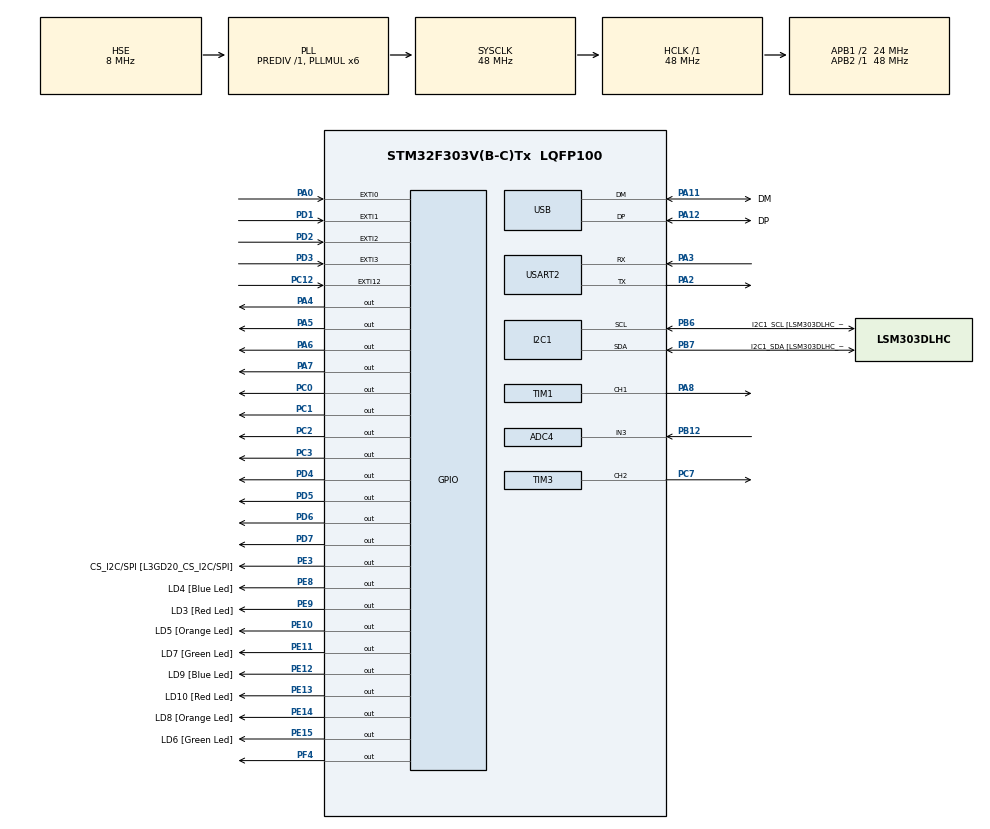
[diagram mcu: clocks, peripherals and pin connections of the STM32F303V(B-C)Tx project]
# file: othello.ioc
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ADC4.Channel-1\#ChannelRegularConversion=ADC_CHANNEL_3
ADC4.NbrOfConversionFlag=1
ADC4.Offset-1\#ChannelRegularConversion=0
ADC4.OffsetNumber-1\#ChannelRegularConversion=ADC_OFFSET_NONE
ADC4.Rank-1\#ChannelRegularConversion=1
ADC4.SamplingTime-1\#ChannelRegularConversion=ADC_SAMPLETIME_601CYCLES_5
ADC4.SamplingTimeOPAMP-1\#ChannelRegularConversion=ADC_SAMPLETIME_19CYCLES_5
I2C1.Timing=0x2000090E
I2C1.Timing-I2C=0x2000090E
Mcu.Family=STM32F3
Mcu.Name=STM32F303V(B-C)Tx
Mcu.Package=LQFP100
NVIC.ADC4_IRQn=true\:1\:0\:true\:false\:true\:true\:true
NVIC.EXTI0_IRQn=true\:1\:0\:true\:false\:true\:true\:true
NVIC.EXTI15_10_IRQn=true\:1\:0\:true\:false\:true\:true\:true
NVIC.EXTI1_IRQn=true\:1\:0\:true\:false\:true\:true\:true
NVIC.EXTI2_TSC_IRQn=true\:1\:0\:true\:false\:true\:true\:true
NVIC.EXTI3_IRQn=true\:1\:0\:true\:false\:true\:true\:true
NVIC.PriorityGroup=NVIC_PRIORITYGROUP_2
NVIC.TIM2_IRQn=true\:2\:0\:true\:false\:true\:true\:true
NVIC.TIM4_IRQn=true\:2\:0\:true\:false\:true\:true\:true
NVIC.USART2_IRQn=true\:1\:0\:true\:false\:true\:true\:true
PA0.GPIO_PuPd=GPIO_PULLDOWN
PA0.Signal=GPXTI0
PA11.GPIO_Label=DM
PA11.Mode=Device
PA11.Signal=USB_DM
PA12.GPIO_Label=DP
PA12.Mode=Device
PA12.Signal=USB_DP
PA13.GPIO_Label=SWDIO
PA13.Mode=Serial_Wire
PA13.Signal=SYS_JTMS-SWDIO
PA14.GPIO_Label=SWCLK
PA14.Mode=Serial_Wire
PA14.Signal=SYS_JTCK-SWCLK
PA2.Mode=Asynchronous
PA2.Signal=USART2_TX
PA3.Mode=Asynchronous
PA3.Signal=USART2_RX
PA4.Signal=GPIO_Output
PA5.Signal=GPIO_Output
PA6.Signal=GPIO_Output
PA7.Signal=GPIO_Output
PA8.Signal=S_TIM1_CH1
PB12.Mode=IN3-Single-Ended
PB12.Signal=ADC4_IN3
PB3.GPIO_Label=SWO
PB3.Signal=SYS_JTDO-TRACESWO
PB6.GPIO_Label=I2C1_SCL [LSM303DLHC_SCL]
PB6.GPIO_Pu=GPIO_PULLUP
PB6.Mode=I2C
PB6.Signal=I2C1_SCL
PB7.GPIO_Label=I2C1_SDA [LSM303DLHC_SDA]
PB7.GPIO_Pu=GPIO_PULLUP
PB7.Mode=I2C
PB7.Signal=I2C1_SDA
PC0.Signal=GPIO_Output
PC1.Signal=GPIO_Output
PC12.GPIO_PuPd=GPIO_PULLDOWN
PC12.Signal=GPXTI12
PC14-OSC32_IN.GPIO_Label=OSC32_IN
PC14-OSC32_IN.Signal=RCC_OSC32_IN
PC15-OSC32_OUT.GPIO_Label=OSC32_OUT
PC15-OSC32_OUT.Signal=RCC_OSC32_OUT
PC2.Signal=GPIO_Output
PC3.Signal=GPIO_Output
PC7.Signal=S_TIM3_CH2
PD1.GPIO_PuPd=GPIO_PULLDOWN
PD1.Signal=GPXTI1
PD2.GPIO_PuPd=GPIO_PULLDOWN
PD2.Signal=GPXTI2
PD3.GPIO_PuPd=GPIO_PULLDOWN
PD3.Signal=GPXTI3
PD4.Signal=GPIO_Output
PD5.Signal=GPIO_Output
PD6.Signal=GPIO_Output
PD7.Signal=GPIO_Output
PE10.GPIO_Label=LD5 [Orange Led]
PE10.Signal=GPIO_Output
PE11.GPIO_Label=LD7 [Green Led]
PE11.Signal=GPIO_Output
PE12.GPIO_Label=LD9 [Blue Led]
PE12.Signal=GPIO_Output
PE13.GPIO_Label=LD10 [Red Led]
PE13.Signal=GPIO_Output
PE14.GPIO_Label=LD8 [Orange Led]
PE14.Signal=GPIO_Output
PE15.GPIO_Label=LD6 [Green Led]
PE15.Signal=GPIO_Output
PE3.GPIO_Label=CS_I2C/SPI [L3GD20_CS_I2C/SPI]
PE3.Signal=GPIO_Output
PE8.GPIO_Label=LD4 [Blue Led]
PE8.Signal=GPIO_Output
PE9.GPIO_Label=LD3 [Red Led]
PE9.Signal=GPIO_Output
PF0-OSC_IN.GPIO_Label=OSC_IN
PF0-OSC_IN.Mode=HSE-External-Clock-Source
PF0-OSC_IN.Signal=RCC_OSC_IN
PF1-OSC_OUT.GPIO_Label=OSC_OUT
PF1-OSC_OUT.Signal=RCC_OSC_OUT
PF4.Signal=GPIO_Output
ProjectManager.HeapSize=0x200
ProjectManager.StackSize=0x400
ProjectManager.TargetToolchain=STM32CubeIDE
RCC.AHBFreq_Value=48000000
RCC.APB1CLKDivider=RCC_HCLK_DIV2
RCC.APB1Freq_Value=24000000
RCC.APB1TimFreq_Value=48000000
RCC.APB2Freq_Value=48000000
RCC.APB2TimFreq_Value=48000000
RCC.CortexFreq_Value=48000000
RCC.HCLKFreq_Value=48000000
RCC.HSE_VALUE=8000000
RCC.HSI_VALUE=8000000
RCC.LSE_VALUE=32768
RCC.PLLMUL=RCC_PLL_MUL6
RCC.SYSCLKFreq_VALUE=48000000
RCC.SYSCLKSourceVirtual=RCC_SYSCLKSOURCE_PLLCLK
RCC.USBFreq_Value=48000000
SH.S_TIM1_CH1.0=TIM1_CH1,Output Compare1 CH1
SH.S_TIM3_CH2.0=TIM3_CH2,PWM Generation2 CH2
TIM1.Channel-Output\ Compare1\ CH1=TIM_CHANNEL_1
TIM2.Period=10000
TIM2.Prescaler=2399
TIM3.Channel-PWM\ Generation2\ CH2=TIM_CHANNEL_2
TIM3.Period=100
TIM3.Prescaler=72
TIM4.Prescaler=479
USART2.VirtualMode-Asynchronous=VM_ASYNC
VP_TIM2_VS_ClockSourceINT.Mode=Internal
VP_TIM3_VS_ClockSourceINT.Mode=Internal
VP_TIM4_VS_ClockSourceINT.Mode=Internal
board=STM32F3DISCOVERY

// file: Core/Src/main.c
/* USER CODE BEGIN Header */
/**
  ******************************************************************************
  * @file           : main.c
  * @brief          : Main program body
  ******************************************************************************
  * @attention
  *
  * <h2><center>&copy; Copyright (c) 2022 STMicroelectronics.
  * All rights reserved.</center></h2>
  *
  * This software component is licensed by ST under BSD 3-Clause license,
  * the "License"; You may not use this file except in compliance with the
  * License. You may obtain a copy of the License at:
  *                        opensource.org/licenses/BSD-3-Clause
  *
  ******************************************************************************
  */
/* USER CODE END Header */
#include "main.h"

/* USER CODE BEGIN Includes */
#include "LiquidCrystal.h"
/* USER CODE END Includes */

ADC_HandleTypeDef hadc4;

I2C_HandleTypeDef hi2c1;

TIM_HandleTypeDef htim1;
TIM_HandleTypeDef htim2;
TIM_HandleTypeDef htim3;
TIM_HandleTypeDef htim4;

UART_HandleTypeDef huart2;

PCD_HandleTypeDef hpcd_USB_FS;

void SystemClock_Config(void);
static void MX_GPIO_Init(void);
static void MX_I2C1_Init(void);
static void MX_USB_PCD_Init(void);
static void MX_TIM2_Init(void);
static void MX_USART2_UART_Init(void);
static void MX_TIM4_Init(void);
static void MX_TIM1_Init(void);
static void MX_TIM3_Init(void);
static void MX_ADC4_Init(void);

/* USER CODE BEGIN 0 */

typedef unsigned char byte;
unsigned char data[1] = "";

byte s6[] = {
  0x00,
  0x0E,
  0x0A,
  0x0E,
  0x00,
  0x0E,
  0x0E,
  0x0E
};

byte s8[] = {
  0x00,
  0x0E,
  0x0E,
  0x0E,
  0x00,
  0x0E,
  0x0E,
  0x0E
};

byte s7[] = {
  0x00,
  0x0E,
  0x0A,
  0x0E,
  0x00,
  0x0E,
  0x0A,
  0x0E
};

byte s5[] = {
  0x00,
  0x0E,
  0x0E,
  0x0E,
  0x00,
  0x0E,
  0x0A,
  0x0E
};

byte s4[] = {
  0x00,
  0x0E,
  0x0E,
  0x0E,
  0x00,
  0x00,
  0x00,
  0x00
};

byte s2[] = {
  0x00,
  0x0E,
  0x0A,
  0x0E,
  0x00,
  0x00,
  0x00,
  0x00
};

byte s1[] = {
  0x00,
  0x00,
  0x00,
  0x00,
  0x00,
  0x0E,
  0x0A,
  0x0E
};

byte s3[] = {
  0x00,
  0x00,
  0x00,
  0x00,
  0x00,
  0x0E,
  0x0E,
  0x0E
};

TIM_HandleTypeDef *pwm_timer = &htim3; // Point to PWM timer configured in CubeMX
uint32_t pwm_channel = TIM_CHANNEL_2;  // Specify configured PWM channel

void PWM_Change_Tone(uint16_t pwm_freq, uint16_t volume) // pwm_freq (1 - 20000), volume (0 - 1000)
{
  if (pwm_freq == 0 || pwm_freq > 20000)
  {
    __HAL_TIM_SET_COMPARE(pwm_timer, pwm_channel, 0);
  }
  else
  {
    const uint32_t internal_clock_freq = HAL_RCC_GetSysClockFreq();
    const uint16_t prescaler = 1;
    const uint32_t timer_clock = internal_clock_freq / prescaler;
    const uint32_t period_cycles = timer_clock / pwm_freq;
    const uint32_t pulse_width = volume * period_cycles / 1000 / 2;

    pwm_timer->Instance->PSC = prescaler - 1;
    pwm_timer->Instance->ARR = period_cycles - 1;
    pwm_timer->Instance->EGR = TIM_EGR_UG;
    __HAL_TIM_SET_COMPARE(pwm_timer, pwm_channel, pulse_width); // pwm_timer->Instance->CCR2 = pulse_width;
  }
}

//int parameter = 0;
//
//void buzzer(){
//		parameter += 10;
//	  __HAL_TIM_SET_COMPARE(&htim3, TIM_CHANNEL_2, parameter);
//}
//byte white[] = {
//  0x00,
//  0x0A,
//  0x15,
//  0x11,
//  0x11,
//  0x0A,
//  0x04,
//  0x00
//};
//
//
//byte black[] = {
//  0x00,
//  0x0A,
//  0x1F,
//  0x1F,
//  0x1F,
//  0x0E,
//  0x04,
//  0x00
//};

/* USER CODE END 0 */

int main(void)
{

  /* MCU Configuration--------------------------------------------------------*/

  /* Reset of all peripherals, Initializes the Flash interface and the Systick. */
  HAL_Init();

  /* Configure the system clock */
  SystemClock_Config();

  /* Initialize all configured peripherals */
  MX_GPIO_Init();
  MX_I2C1_Init();
  MX_USB_PCD_Init();
  MX_TIM2_Init();
  MX_USART2_UART_Init();
  MX_TIM4_Init();
  MX_TIM1_Init();
  MX_TIM3_Init();
  MX_ADC4_Init();
  /* USER CODE BEGIN 2 */
  HAL_GPIO_WritePin(GPIOD, GPIO_PIN_4, 1);
  HAL_GPIO_WritePin(GPIOD, GPIO_PIN_5, 1);
  HAL_GPIO_WritePin(GPIOD, GPIO_PIN_6, 1);
  HAL_GPIO_WritePin(GPIOD, GPIO_PIN_7, 1);

  LiquidCrystal(GPIOD, GPIO_PIN_8, GPIO_PIN_9, GPIO_PIN_10, GPIO_PIN_11, GPIO_PIN_12, GPIO_PIN_13, GPIO_PIN_14);
  begin(20, 4);

  createChar(5, s6);
  createChar(7, s8);
  createChar(6, s7);
  createChar(4, s5);
  createChar(3, s4);
  createChar(1, s2);
  createChar(0, s1);
  createChar(2, s3);

  setCursor(5,0);
  write(5);

  setCursor(6,0);
  write(4);

  setCursor(8, 0);
  print("Othello");

  setCursor(3,2);
  print("Shiva Radmanesh");

  HAL_ADC_Start_IT(&hadc4);
  HAL_TIM_Base_Start_IT(&htim2);
//  HAL_TIM_Base_Start_IT(&htim3);
  HAL_TIM_Base_Start_IT(&htim4);
  HAL_TIM_PWM_Start(&htim3, TIM_CHANNEL_2);
  HAL_UART_Receive_IT(&huart2, data, sizeof(data));

  /* USER CODE END 2 */

  /* Infinite loop */
  while (1)
  {

  }
}

void SystemClock_Config(void)
{
  RCC_OscInitTypeDef RCC_OscInitStruct = {0};
  RCC_ClkInitTypeDef RCC_ClkInitStruct = {0};
  RCC_PeriphCLKInitTypeDef PeriphClkInit = {0};

  /** Initializes the RCC Oscillators according to the specified parameters
  * in the RCC_OscInitTypeDef structure.
  */
  RCC_OscInitStruct.OscillatorType = RCC_OSCILLATORTYPE_HSI|RCC_OSCILLATORTYPE_HSE;
  RCC_OscInitStruct.HSEState = RCC_HSE_BYPASS;
  RCC_OscInitStruct.HSEPredivValue = RCC_HSE_PREDIV_DIV1;
  RCC_OscInitStruct.HSIState = RCC_HSI_ON;
  RCC_OscInitStruct.HSICalibrationValue = RCC_HSICALIBRATION_DEFAULT;
  RCC_OscInitStruct.PLL.PLLState = RCC_PLL_ON;
  RCC_OscInitStruct.PLL.PLLSource = RCC_PLLSOURCE_HSE;
  RCC_OscInitStruct.PLL.PLLMUL = RCC_PLL_MUL6;
  if (HAL_RCC_OscConfig(&RCC_OscInitStruct) != HAL_OK)
  {
    Error_Handler();
  }
  /** Initializes the CPU, AHB and APB buses clocks
  */
  RCC_ClkInitStruct.ClockType = RCC_CLOCKTYPE_HCLK|RCC_CLOCKTYPE_SYSCLK
                              |RCC_CLOCKTYPE_PCLK1|RCC_CLOCKTYPE_PCLK2;
  RCC_ClkInitStruct.SYSCLKSource = RCC_SYSCLKSOURCE_PLLCLK;
  RCC_ClkInitStruct.AHBCLKDivider = RCC_SYSCLK_DIV1;
  RCC_ClkInitStruct.APB1CLKDivider = RCC_HCLK_DIV2;
  RCC_ClkInitStruct.APB2CLKDivider = RCC_HCLK_DIV1;

  if (HAL_RCC_ClockConfig(&RCC_ClkInitStruct, FLASH_LATENCY_1) != HAL_OK)
  {
    Error_Handler();
  }
  PeriphClkInit.PeriphClockSelection = RCC_PERIPHCLK_USB|RCC_PERIPHCLK_USART2
                              |RCC_PERIPHCLK_I2C1|RCC_PERIPHCLK_TIM1
                              |RCC_PERIPHCLK_ADC34;
  PeriphClkInit.Usart2ClockSelection = RCC_USART2CLKSOURCE_PCLK1;
  PeriphClkInit.Adc34ClockSelection = RCC_ADC34PLLCLK_DIV1;
  PeriphClkInit.I2c1ClockSelection = RCC_I2C1CLKSOURCE_HSI;
  PeriphClkInit.USBClockSelection = RCC_USBCLKSOURCE_PLL;
  PeriphClkInit.Tim1ClockSelection = RCC_TIM1CLK_HCLK;
  if (HAL_RCCEx_PeriphCLKConfig(&PeriphClkInit) != HAL_OK)
  {
    Error_Handler();
  }
}

static void MX_ADC4_Init(void)
{

  ADC_ChannelConfTypeDef sConfig = {0};

  /** Common config
  */
  hadc4.Instance = ADC4;
  hadc4.Init.ClockPrescaler = ADC_CLOCK_ASYNC_DIV1;
  hadc4.Init.Resolution = ADC_RESOLUTION_12B;
  hadc4.Init.ScanConvMode = ADC_SCAN_DISABLE;
  hadc4.Init.ContinuousConvMode = DISABLE;
  hadc4.Init.DiscontinuousConvMode = DISABLE;
  hadc4.Init.ExternalTrigConvEdge = ADC_EXTERNALTRIGCONVEDGE_NONE;
  hadc4.Init.ExternalTrigConv = ADC_SOFTWARE_START;
  hadc4.Init.DataAlign = ADC_DATAALIGN_RIGHT;
  hadc4.Init.NbrOfConversion = 1;
  hadc4.Init.DMAContinuousRequests = DISABLE;
  hadc4.Init.EOCSelection = ADC_EOC_SINGLE_CONV;
  hadc4.Init.LowPowerAutoWait = DISABLE;
  hadc4.Init.Overrun = ADC_OVR_DATA_OVERWRITTEN;
  if (HAL_ADC_Init(&hadc4) != HAL_OK)
  {
    Error_Handler();
  }
  /** Configure Regular Channel
  */
  sConfig.Channel = ADC_CHANNEL_3;
  sConfig.Rank = ADC_REGULAR_RANK_1;
  sConfig.SingleDiff = ADC_SINGLE_ENDED;
  sConfig.SamplingTime = ADC_SAMPLETIME_601CYCLES_5;
  sConfig.OffsetNumber = ADC_OFFSET_NONE;
  sConfig.Offset = 0;
  if (HAL_ADC_ConfigChannel(&hadc4, &sConfig) != HAL_OK)
  {
    Error_Handler();
  }

}

static void MX_I2C1_Init(void)
{

  hi2c1.Instance = I2C1;
  hi2c1.Init.Timing = 0x2000090E;
  hi2c1.Init.OwnAddress1 = 0;
  hi2c1.Init.AddressingMode = I2C_ADDRESSINGMODE_7BIT;
  hi2c1.Init.DualAddressMode = I2C_DUALADDRESS_DISABLE;
  hi2c1.Init.OwnAddress2 = 0;
  hi2c1.Init.OwnAddress2Masks = I2C_OA2_NOMASK;
  hi2c1.Init.GeneralCallMode = I2C_GENERALCALL_DISABLE;
  hi2c1.Init.NoStretchMode = I2C_NOSTRETCH_DISABLE;
  if (HAL_I2C_Init(&hi2c1) != HAL_OK)
  {
    Error_Handler();
  }
  /** Configure Analogue filter
  */
  if (HAL_I2CEx_ConfigAnalogFilter(&hi2c1, I2C_ANALOGFILTER_ENABLE) != HAL_OK)
  {
    Error_Handler();
  }
  /** Configure Digital filter
  */
  if (HAL_I2CEx_ConfigDigitalFilter(&hi2c1, 0) != HAL_OK)
  {
    Error_Handler();
  }

}

static void MX_TIM1_Init(void)
{

  TIM_MasterConfigTypeDef sMasterConfig = {0};
  TIM_OC_InitTypeDef sConfigOC = {0};
  TIM_BreakDeadTimeConfigTypeDef sBreakDeadTimeConfig = {0};

  htim1.Instance = TIM1;
  htim1.Init.Prescaler = 0;
  htim1.Init.CounterMode = TIM_COUNTERMODE_UP;
  htim1.Init.Period = 65535;
  htim1.Init.ClockDivision = TIM_CLOCKDIVISION_DIV1;
  htim1.Init.RepetitionCounter = 0;
  htim1.Init.AutoReloadPreload = TIM_AUTORELOAD_PRELOAD_DISABLE;
  if (HAL_TIM_OC_Init(&htim1) != HAL_OK)
  {
    Error_Handler();
  }
  sMasterConfig.MasterOutputTrigger = TIM_TRGO_RESET;
  sMasterConfig.MasterOutputTrigger2 = TIM_TRGO2_RESET;
  sMasterConfig.MasterSlaveMode = TIM_MASTERSLAVEMODE_DISABLE;
  if (HAL_TIMEx_MasterConfigSynchronization(&htim1, &sMasterConfig) != HAL_OK)
  {
    Error_Handler();
  }
  sConfigOC.OCMode = TIM_OCMODE_TIMING;
  sConfigOC.Pulse = 0;
  sConfigOC.OCPolarity = TIM_OCPOLARITY_HIGH;
  sConfigOC.OCNPolarity = TIM_OCNPOLARITY_HIGH;
  sConfigOC.OCFastMode = TIM_OCFAST_DISABLE;
  sConfigOC.OCIdleState = TIM_OCIDLESTATE_RESET;
  sConfigOC.OCNIdleState = TIM_OCNIDLESTATE_RESET;
  if (HAL_TIM_OC_ConfigChannel(&htim1, &sConfigOC, TIM_CHANNEL_1) != HAL_OK)
  {
    Error_Handler();
  }
  sBreakDeadTimeConfig.OffStateRunMode = TIM_OSSR_DISABLE;
  sBreakDeadTimeConfig.OffStateIDLEMode = TIM_OSSI_DISABLE;
  sBreakDeadTimeConfig.LockLevel = TIM_LOCKLEVEL_OFF;
  sBreakDeadTimeConfig.DeadTime = 0;
  sBreakDeadTimeConfig.BreakState = TIM_BREAK_DISABLE;
  sBreakDeadTimeConfig.BreakPolarity = TIM_BREAKPOLARITY_HIGH;
  sBreakDeadTimeConfig.BreakFilter = 0;
  sBreakDeadTimeConfig.Break2State = TIM_BREAK2_DISABLE;
  sBreakDeadTimeConfig.Break2Polarity = TIM_BREAK2POLARITY_HIGH;
  sBreakDeadTimeConfig.Break2Filter = 0;
  sBreakDeadTimeConfig.AutomaticOutput = TIM_AUTOMATICOUTPUT_DISABLE;
  if (HAL_TIMEx_ConfigBreakDeadTime(&htim1, &sBreakDeadTimeConfig) != HAL_OK)
  {
    Error_Handler();
  }
  HAL_TIM_MspPostInit(&htim1);

}

static void MX_TIM2_Init(void)
{

  TIM_ClockConfigTypeDef sClockSourceConfig = {0};
  TIM_MasterConfigTypeDef sMasterConfig = {0};

  htim2.Instance = TIM2;
  htim2.Init.Prescaler = 2399;
  htim2.Init.CounterMode = TIM_COUNTERMODE_UP;
  htim2.Init.Period = 10000;
  htim2.Init.ClockDivision = TIM_CLOCKDIVISION_DIV1;
  htim2.Init.AutoReloadPreload = TIM_AUTORELOAD_PRELOAD_DISABLE;
  if (HAL_TIM_Base_Init(&htim2) != HAL_OK)
  {
    Error_Handler();
  }
  sClockSourceConfig.ClockSource = TIM_CLOCKSOURCE_INTERNAL;
  if (HAL_TIM_ConfigClockSource(&htim2, &sClockSourceConfig) != HAL_OK)
  {
    Error_Handler();
  }
  sMasterConfig.MasterOutputTrigger = TIM_TRGO_RESET;
  sMasterConfig.MasterSlaveMode = TIM_MASTERSLAVEMODE_DISABLE;
  if (HAL_TIMEx_MasterConfigSynchronization(&htim2, &sMasterConfig) != HAL_OK)
  {
    Error_Handler();
  }

}

static void MX_TIM3_Init(void)
{

  TIM_ClockConfigTypeDef sClockSourceConfig = {0};
  TIM_MasterConfigTypeDef sMasterConfig = {0};
  TIM_OC_InitTypeDef sConfigOC = {0};

  htim3.Instance = TIM3;
  htim3.Init.Prescaler = 72;
  htim3.Init.CounterMode = TIM_COUNTERMODE_UP;
  htim3.Init.Period = 100;
  htim3.Init.ClockDivision = TIM_CLOCKDIVISION_DIV1;
  htim3.Init.AutoReloadPreload = TIM_AUTORELOAD_PRELOAD_DISABLE;
  if (HAL_TIM_Base_Init(&htim3) != HAL_OK)
  {
    Error_Handler();
  }
  sClockSourceConfig.ClockSource = TIM_CLOCKSOURCE_INTERNAL;
  if (HAL_TIM_ConfigClockSource(&htim3, &sClockSourceConfig) != HAL_OK)
  {
    Error_Handler();
  }
  if (HAL_TIM_PWM_Init(&htim3) != HAL_OK)
  {
    Error_Handler();
  }
  sMasterConfig.MasterOutputTrigger = TIM_TRGO_RESET;
  sMasterConfig.MasterSlaveMode = TIM_MASTERSLAVEMODE_DISABLE;
  if (HAL_TIMEx_MasterConfigSynchronization(&htim3, &sMasterConfig) != HAL_OK)
  {
    Error_Handler();
  }
  sConfigOC.OCMode = TIM_OCMODE_PWM1;
  sConfigOC.Pulse = 0;
  sConfigOC.OCPolarity = TIM_OCPOLARITY_HIGH;
  sConfigOC.OCFastMode = TIM_OCFAST_DISABLE;
  if (HAL_TIM_PWM_ConfigChannel(&htim3, &sConfigOC, TIM_CHANNEL_2) != HAL_OK)
  {
    Error_Handler();
  }
  HAL_TIM_MspPostInit(&htim3);

}

static void MX_TIM4_Init(void)
{

  TIM_ClockConfigTypeDef sClockSourceConfig = {0};
  TIM_MasterConfigTypeDef sMasterConfig = {0};

  htim4.Instance = TIM4;
  htim4.Init.Prescaler = 479;
  htim4.Init.CounterMode = TIM_COUNTERMODE_UP;
  htim4.Init.Period = 65535;
  htim4.Init.ClockDivision = TIM_CLOCKDIVISION_DIV1;
  htim4.Init.AutoReloadPreload = TIM_AUTORELOAD_PRELOAD_DISABLE;
  if (HAL_TIM_Base_Init(&htim4) != HAL_OK)
  {
    Error_Handler();
  }
  sClockSourceConfig.ClockSource = TIM_CLOCKSOURCE_INTERNAL;
  if (HAL_TIM_ConfigClockSource(&htim4, &sClockSourceConfig) != HAL_OK)
  {
    Error_Handler();
  }
  sMasterConfig.MasterOutputTrigger = TIM_TRGO_RESET;
  sMasterConfig.MasterSlaveMode = TIM_MASTERSLAVEMODE_DISABLE;
  if (HAL_TIMEx_MasterConfigSynchronization(&htim4, &sMasterConfig) != HAL_OK)
  {
    Error_Handler();
  }

}

static void MX_USART2_UART_Init(void)
{

  huart2.Instance = USART2;
  huart2.Init.BaudRate = 38400;
  huart2.Init.WordLength = UART_WORDLENGTH_8B;
  huart2.Init.StopBits = UART_STOPBITS_1;
  huart2.Init.Parity = UART_PARITY_NONE;
  huart2.Init.Mode = UART_MODE_TX_RX;
  huart2.Init.HwFlowCtl = UART_HWCONTROL_NONE;
  huart2.Init.OverSampling = UART_OVERSAMPLING_16;
  huart2.Init.OneBitSampling = UART_ONE_BIT_SAMPLE_DISABLE;
  huart2.AdvancedInit.AdvFeatureInit = UART_ADVFEATURE_NO_INIT;
  if (HAL_UART_Init(&huart2) != HAL_OK)
  {
    Error_Handler();
  }

}

static void MX_USB_PCD_Init(void)
{

  hpcd_USB_FS.Instance = USB;
  hpcd_USB_FS.Init.dev_endpoints = 8;
  hpcd_USB_FS.Init.speed = PCD_SPEED_FULL;
  hpcd_USB_FS.Init.phy_itface = PCD_PHY_EMBEDDED;
  hpcd_USB_FS.Init.low_power_enable = DISABLE;
  hpcd_USB_FS.Init.battery_charging_enable = DISABLE;
  if (HAL_PCD_Init(&hpcd_USB_FS) != HAL_OK)
  {
    Error_Handler();
  }

}

static void MX_GPIO_Init(void)
{
  GPIO_InitTypeDef GPIO_InitStruct = {0};

  /* GPIO Ports Clock Enable */
  __HAL_RCC_GPIOE_CLK_ENABLE();
  __HAL_RCC_GPIOC_CLK_ENABLE();
  __HAL_RCC_GPIOF_CLK_ENABLE();
  __HAL_RCC_GPIOA_CLK_ENABLE();
  __HAL_RCC_GPIOB_CLK_ENABLE();
  __HAL_RCC_GPIOD_CLK_ENABLE();

  /*Configure GPIO pin Output Level */
  HAL_GPIO_WritePin(GPIOE, CS_I2C_SPI_Pin|LD4_Pin|LD3_Pin|LD5_Pin
                          |LD7_Pin|LD9_Pin|LD10_Pin|LD8_Pin
                          |LD6_Pin, GPIO_PIN_RESET);

  /*Configure GPIO pin Output Level */
  HAL_GPIO_WritePin(GPIOC, GPIO_PIN_0|GPIO_PIN_1|GPIO_PIN_2|GPIO_PIN_3, GPIO_PIN_RESET);

  /*Configure GPIO pin Output Level */
  HAL_GPIO_WritePin(GPIOF, GPIO_PIN_4, GPIO_PIN_RESET);

  /*Configure GPIO pin Output Level */
  HAL_GPIO_WritePin(GPIOA, GPIO_PIN_4|GPIO_PIN_5|GPIO_PIN_6|GPIO_PIN_7, GPIO_PIN_RESET);

  /*Configure GPIO pin Output Level */
  HAL_GPIO_WritePin(GPIOD, GPIO_PIN_4|GPIO_PIN_5|GPIO_PIN_6|GPIO_PIN_7, GPIO_PIN_RESET);

  /*Configure GPIO pins : CS_I2C_SPI_Pin LD4_Pin LD3_Pin LD5_Pin
                           LD7_Pin LD9_Pin LD10_Pin LD8_Pin
                           LD6_Pin */
  GPIO_InitStruct.Pin = CS_I2C_SPI_Pin|LD4_Pin|LD3_Pin|LD5_Pin
                          |LD7_Pin|LD9_Pin|LD10_Pin|LD8_Pin
                          |LD6_Pin;
  GPIO_InitStruct.Mode = GPIO_MODE_OUTPUT_PP;
  GPIO_InitStruct.Pull = GPIO_NOPULL;
  GPIO_InitStruct.Speed = GPIO_SPEED_FREQ_LOW;
  HAL_GPIO_Init(GPIOE, &GPIO_InitStruct);

  /*Configure GPIO pins : PC0 PC1 PC2 PC3 */
  GPIO_InitStruct.Pin = GPIO_PIN_0|GPIO_PIN_1|GPIO_PIN_2|GPIO_PIN_3;
  GPIO_InitStruct.Mode = GPIO_MODE_OUTPUT_PP;
  GPIO_InitStruct.Pull = GPIO_NOPULL;
  GPIO_InitStruct.Speed = GPIO_SPEED_FREQ_LOW;
  HAL_GPIO_Init(GPIOC, &GPIO_InitStruct);

  /*Configure GPIO pin : PA0 */
  GPIO_InitStruct.Pin = GPIO_PIN_0;
  GPIO_InitStruct.Mode = GPIO_MODE_IT_RISING;
  GPIO_InitStruct.Pull = GPIO_PULLDOWN;
  HAL_GPIO_Init(GPIOA, &GPIO_InitStruct);

  /*Configure GPIO pin : PF4 */
  GPIO_InitStruct.Pin = GPIO_PIN_4;
  GPIO_InitStruct.Mode = GPIO_MODE_OUTPUT_PP;
  GPIO_InitStruct.Pull = GPIO_NOPULL;
  GPIO_InitStruct.Speed = GPIO_SPEED_FREQ_LOW;
  HAL_GPIO_Init(GPIOF, &GPIO_InitStruct);

  /*Configure GPIO pins : PA4 PA5 PA6 PA7 */
  GPIO_InitStruct.Pin = GPIO_PIN_4|GPIO_PIN_5|GPIO_PIN_6|GPIO_PIN_7;
  GPIO_InitStruct.Mode = GPIO_MODE_OUTPUT_PP;
  GPIO_InitStruct.Pull = GPIO_NOPULL;
  GPIO_InitStruct.Speed = GPIO_SPEED_FREQ_LOW;
  HAL_GPIO_Init(GPIOA, &GPIO_InitStruct);

  /*Configure GPIO pin : PC12 */
  GPIO_InitStruct.Pin = GPIO_PIN_12;
  GPIO_InitStruct.Mode = GPIO_MODE_IT_RISING;
  GPIO_InitStruct.Pull = GPIO_PULLDOWN;
  HAL_GPIO_Init(GPIOC, &GPIO_InitStruct);

  /*Configure GPIO pins : PD1 PD2 PD3 */
  GPIO_InitStruct.Pin = GPIO_PIN_1|GPIO_PIN_2|GPIO_PIN_3;
  GPIO_InitStruct.Mode = GPIO_MODE_IT_RISING;
  GPIO_InitStruct.Pull = GPIO_PULLDOWN;
  HAL_GPIO_Init(GPIOD, &GPIO_InitStruct);

  /*Configure GPIO pins : PD4 PD5 PD6 PD7 */
  GPIO_InitStruct.Pin = GPIO_PIN_4|GPIO_PIN_5|GPIO_PIN_6|GPIO_PIN_7;
  GPIO_InitStruct.Mode = GPIO_MODE_OUTPUT_PP;
  GPIO_InitStruct.Pull = GPIO_NOPULL;
  GPIO_InitStruct.Speed = GPIO_SPEED_FREQ_LOW;
  HAL_GPIO_Init(GPIOD, &GPIO_InitStruct);

  /* EXTI interrupt init*/
  HAL_NVIC_SetPriority(EXTI0_IRQn, 1, 0);
  HAL_NVIC_EnableIRQ(EXTI0_IRQn);

  HAL_NVIC_SetPriority(EXTI1_IRQn, 1, 0);
  HAL_NVIC_EnableIRQ(EXTI1_IRQn);

  HAL_NVIC_SetPriority(EXTI2_TSC_IRQn, 1, 0);
  HAL_NVIC_EnableIRQ(EXTI2_TSC_IRQn);

  HAL_NVIC_SetPriority(EXTI3_IRQn, 1, 0);
  HAL_NVIC_EnableIRQ(EXTI3_IRQn);

  HAL_NVIC_SetPriority(EXTI15_10_IRQn, 1, 0);
  HAL_NVIC_EnableIRQ(EXTI15_10_IRQn);

}

void Error_Handler(void)
{
  __disable_irq();
  while (1)
  {
  }
}

/************************ (C) COPYRIGHT STMicroelectronics *****END OF FILE****/
